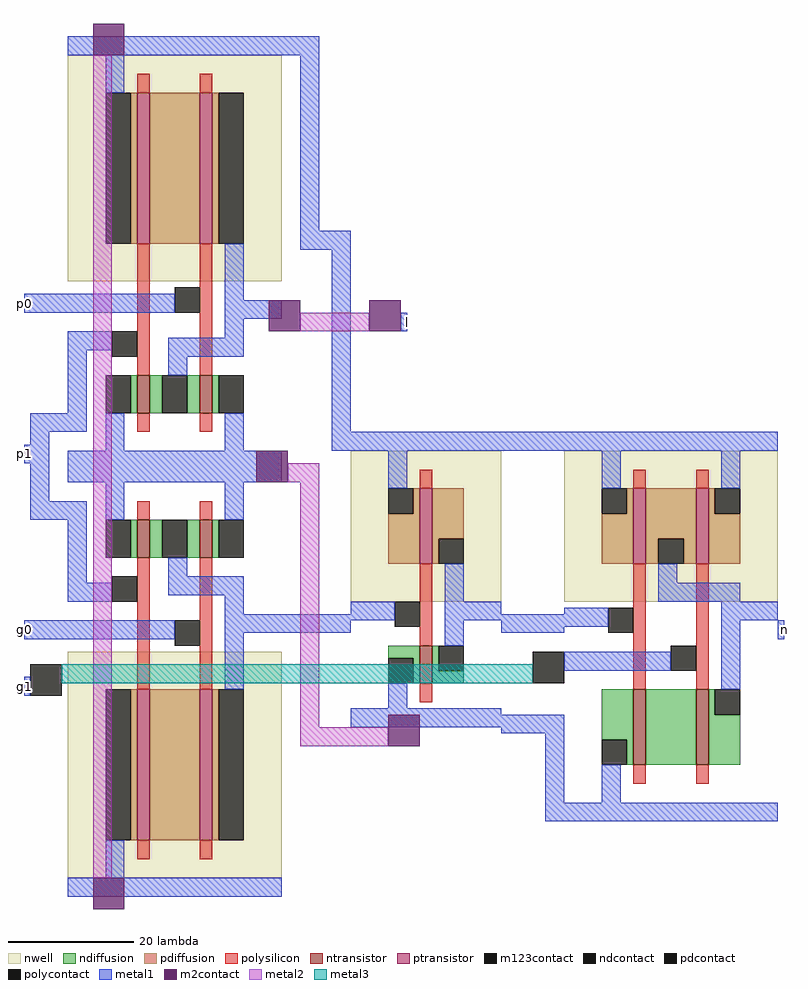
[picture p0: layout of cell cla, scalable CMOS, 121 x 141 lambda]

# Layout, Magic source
magic
tech scmos
<< metal1 >>
rect 29 90 38 93
rect 35 62 38 90
rect 35 59 43 62
rect -9 49 -2 52
rect -2 33 1 46
rect -8 30 1 33
rect -8 28 -5 30
rect -9 25 -5 28
rect 40 27 43 59
rect 51 46 52 49
rect 67 27 77 30
rect -8 19 -5 25
rect -8 16 1 19
rect -2 3 1 16
rect -9 -3 -2 0
rect 32 -2 43 1
rect 67 -2 77 1
rect 111 -3 112 0
rect -9 -12 -8 -9
rect 67 -18 77 -15
rect 74 -29 77 -18
rect 74 -32 82 -29
<< m2contact >>
rect 2 90 7 95
rect 30 46 35 51
rect 46 46 51 51
rect 28 22 33 27
rect 49 -20 54 -15
rect 2 -46 7 -41
<< metal2 >>
rect 2 -41 5 90
rect 35 46 46 49
rect 33 22 38 25
rect 35 -17 38 22
rect 35 -20 49 -17
<< m123contact >>
rect -8 -12 -3 -7
rect 72 -10 77 -5
<< metal3 >>
rect -3 -10 72 -7
use nor  nor_0
transform 1 0 -2 0 1 54
box 0 -30 34 39
use nor  nor_1
transform 1 0 -2 0 -1 -5
box 0 -30 34 39
use inv  inv_0
transform 1 0 43 0 1 -3
box 0 -15 24 33
use nand  nand_0
transform 1 0 77 0 1 3
box 0 -35 34 27
<< labels >>
rlabel metal1 -9 49 -9 52 3 p0
rlabel metal1 -9 -3 -9 0 3 g0
rlabel metal1 -9 25 -9 28 3 p1
rlabel metal1 -9 -12 -9 -9 3 g1
rlabel metal1 52 46 52 49 1 l
rlabel metal1 112 -3 112 0 7 n
<< end >>

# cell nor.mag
magic
tech scmos
<< nwell >>
rect 0 0 34 36
<< ntransistor >>
rect 11 -21 13 -15
rect 21 -21 23 -15
<< ptransistor >>
rect 11 6 13 30
rect 21 6 23 30
<< ndiffusion >>
rect 10 -21 11 -15
rect 13 -21 15 -15
rect 19 -21 21 -15
rect 23 -21 24 -15
<< pdiffusion >>
rect 10 6 11 30
rect 13 6 21 30
rect 23 6 24 30
<< ndcontact >>
rect 6 -21 10 -15
rect 15 -21 19 -15
rect 24 -21 28 -15
<< pdcontact >>
rect 6 6 10 30
rect 24 6 28 30
<< polysilicon >>
rect 11 30 13 33
rect 21 30 23 33
rect 11 -15 13 6
rect 21 -15 23 6
rect 11 -24 13 -21
rect 21 -24 23 -21
<< polycontact >>
rect 7 -12 11 -8
rect 17 -5 21 -1
<< metal1 >>
rect 0 36 34 39
rect 6 30 9 36
rect 0 -5 17 -2
rect 25 -3 28 6
rect 25 -6 34 -3
rect 0 -11 7 -8
rect 25 -9 28 -6
rect 16 -12 28 -9
rect 16 -15 19 -12
rect 6 -27 9 -21
rect 25 -27 28 -21
rect 0 -30 34 -27
<< labels >>
rlabel metal1 18 37 18 37 5 vdd!
rlabel metal1 34 -6 34 -3 7 out
rlabel metal1 21 -28 21 -28 1 gnd!
rlabel metal1 0 -5 0 -2 3 b
rlabel metal1 0 -11 0 -8 3 a
<< end >>

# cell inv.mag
magic
tech scmos
<< nwell >>
rect 0 6 24 30
<< ntransistor >>
rect 11 -7 13 -1
<< ptransistor >>
rect 11 12 13 24
<< ndiffusion >>
rect 6 -3 11 -1
rect 10 -7 11 -3
rect 13 -5 14 -1
rect 13 -7 18 -5
<< pdiffusion >>
rect 10 20 11 24
rect 6 12 11 20
rect 13 16 18 24
rect 13 12 14 16
<< ndcontact >>
rect 6 -7 10 -3
rect 14 -5 18 -1
<< pdcontact >>
rect 6 20 10 24
rect 14 12 18 16
<< polysilicon >>
rect 11 24 13 27
rect 11 -1 13 12
rect 11 -10 13 -7
<< polycontact >>
rect 7 2 11 6
<< metal1 >>
rect 0 30 24 33
rect 6 24 9 30
rect 15 6 18 12
rect 0 3 7 6
rect 15 3 24 6
rect 15 -1 18 3
rect 6 -11 9 -7
rect 0 -14 24 -11
<< labels >>
rlabel metal1 14 31 14 31 5 vdd!
rlabel metal1 24 3 24 6 7 op
rlabel metal1 0 3 0 6 3 in
rlabel metal1 20 -13 20 -13 1 gnd!
<< end >>

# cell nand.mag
magic
tech scmos
<< nwell >>
rect 0 0 34 24
<< ntransistor >>
rect 11 -26 13 -14
rect 21 -26 23 -14
<< ptransistor >>
rect 11 6 13 18
rect 21 6 23 18
<< ndiffusion >>
rect 6 -22 11 -14
rect 10 -26 11 -22
rect 13 -26 21 -14
rect 23 -18 24 -14
rect 23 -26 28 -18
<< pdiffusion >>
rect 10 14 11 18
rect 6 6 11 14
rect 13 10 21 18
rect 13 6 15 10
rect 19 6 21 10
rect 23 14 24 18
rect 23 6 28 14
<< ndcontact >>
rect 6 -26 10 -22
rect 24 -18 28 -14
<< pdcontact >>
rect 6 14 10 18
rect 15 6 19 10
rect 24 14 28 18
<< polysilicon >>
rect 11 18 13 21
rect 21 18 23 21
rect 11 -14 13 6
rect 21 -14 23 6
rect 11 -29 13 -26
rect 21 -29 23 -26
<< polycontact >>
rect 7 -5 11 -1
rect 17 -11 21 -7
<< metal1 >>
rect 0 24 34 27
rect 6 18 9 24
rect 25 18 28 24
rect 15 3 18 6
rect 15 0 28 3
rect 0 -4 7 -1
rect 25 -3 34 0
rect 0 -11 17 -8
rect 25 -14 28 -3
rect 6 -32 9 -26
rect 0 -35 34 -32
<< labels >>
rlabel metal1 24 26 24 26 5 vdd!
rlabel metal1 24 -34 24 -34 1 gnd!
rlabel metal1 0 -11 0 -8 3 b
rlabel metal1 0 -4 0 -1 3 a
rlabel metal1 34 -3 34 0 7 out
<< end >>
